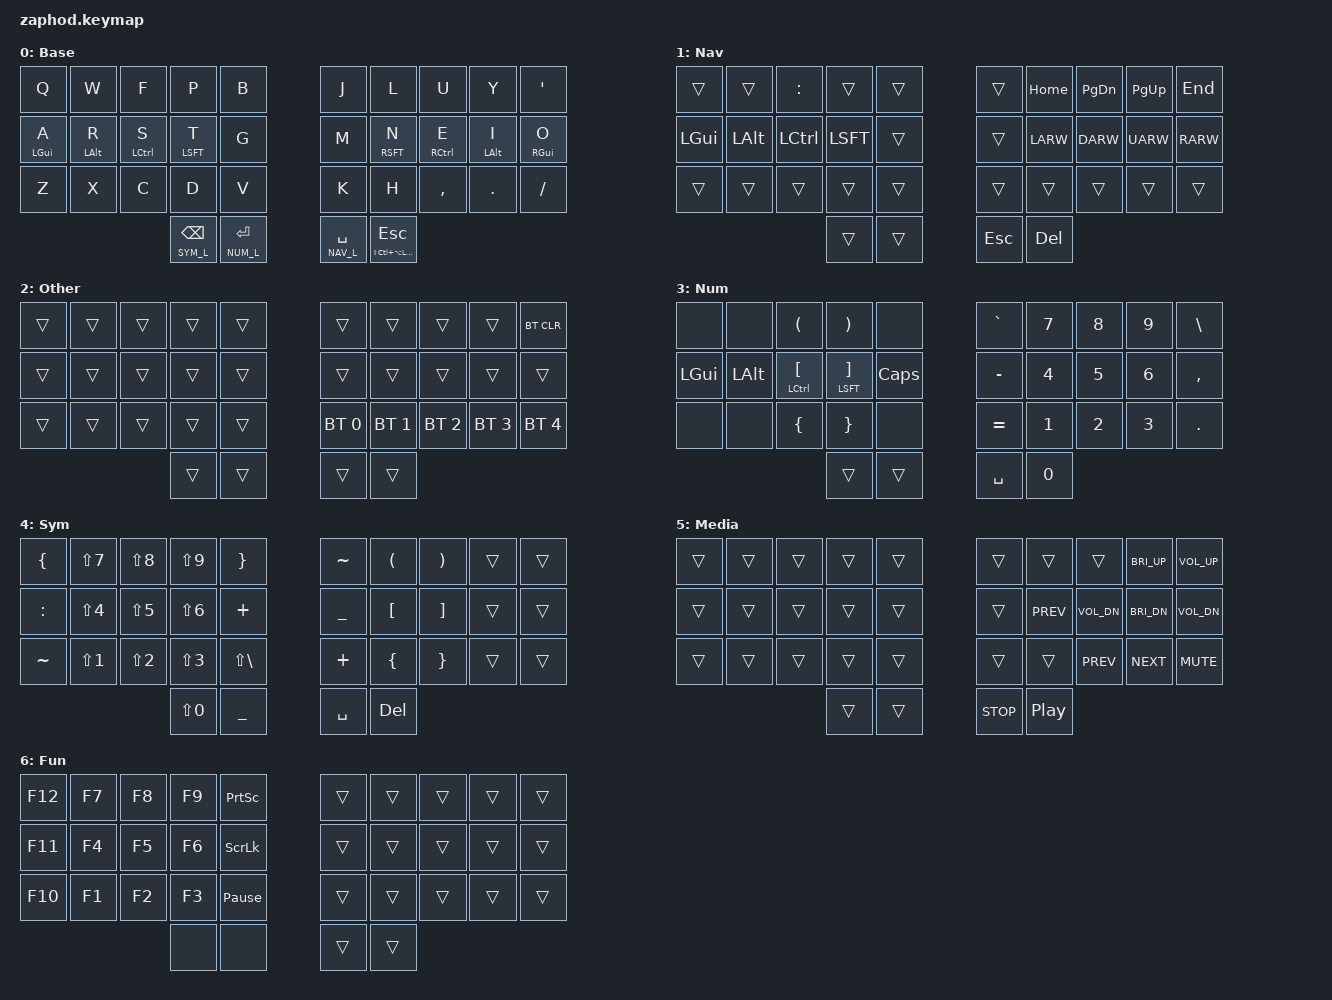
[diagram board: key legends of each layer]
/*
 * Copyright (c) 2021 Pete Johanson
 *
 * SPDX-License-Identifier: MIT
 */

#include <behaviors.dtsi>
#include <dt-bindings/zmk/keys.h>
#include <dt-bindings/zmk/bt.h>
#include <dt-bindings/zmk/outputs.h>

#define NAV_L 1
#define OTH_L 2
#define NUM_L 3
#define SYM_L 4
#define MED_L 5
#define FUN_L 6

// Using layer taps on thumbs, having quick tap as well helps w/ repeating space/backspace
&lt { quick_tap_ms = <200>; };

/ {
    combos {
        compatible = "zmk,combos";

        med_mo {
	    timeout-ms = <50>;
            key-positions = <30 31>;
            bindings = <&mo MED_L>;
        };

        fn_mo {
	    timeout-ms = <50>;
            key-positions = <32 33>;
            bindings = <&mo FUN_L>;
        };

        combo_semicolon {
            timeout-ms = <40>;
            key-positions = <6 7>;
            bindings = <&kp SEMI>;
        };
        combo_tab {
            timeout-ms = <40>;
            key-positions = <26 27>;
            bindings = <&kp TAB>;
        };
        combo_capslock {
            timeout-ms = <40>;
            key-positions = <5 15>;
            bindings = <&caps_word>;
        };

    };

    behaviors {
        hm: homerow_mods {
            compatible = "zmk,behavior-hold-tap";
            label = "homerow mods";
            #binding-cells = <2>;
            tapping_term_ms = <200>;
            flavor = "tap-preferred";
            bindings = <&kp>, <&kp>;
        };
    };

    keymap {
        compatible = "zmk,keymap";

        default_layer {
            label = "Base";
            bindings = <
                &kp Q      &kp W      &kp F       &kp P          &kp B         &kp J            &kp L          &kp U       &kp Y       &kp APOS
                &hm LGUI A &hm LALT R &hm LCTRL S &hm LSFT T     &kp G         &kp M            &hm RSFT N     &hm RCTRL E &hm LALT I  &hm RGUI O
                &kp Z      &kp X      &kp C       &kp D          &kp V         &kp K            &kp H          &kp COMMA   &kp DOT     &kp FSLH
                                                  &lt SYM_L BSPC &lt NUM_L RET &lt NAV_L SPACE  &mt LS(LC(LA(LGUI))) ESC
            >;
        };

        nav_layer {
            label = "Nav";
            bindings = <
                &trans     &trans     &kp COLON   &trans          &trans       &trans           &kp HOME       &kp PG_DN   &kp PG_UP  &kp END
                &kp LGUI   &kp LALT   &kp LCTRL   &kp LSFT        &trans       &trans           &kp LARW       &kp DARW    &kp UARW   &kp RARW
                &trans     &trans     &trans      &trans          &trans       &trans           &trans         &trans      &trans     &trans
                                                  &trans          &trans       &kp ESC          &kp DEL
            >;
        };

        other_layer {
            label = "Other";
            bindings = <
                &trans	   &trans     &trans      &trans          &trans       &trans           &trans         &trans       &trans       &bt BT_CLR
                &trans     &trans     &trans      &trans          &trans       &trans           &trans         &trans       &trans       &trans
                &trans     &trans     &trans      &trans          &trans       &bt BT_SEL 0     &bt BT_SEL 1   &bt BT_SEL 2 &bt BT_SEL 3 &bt BT_SEL 4
                                                  &trans          &trans       &trans           &trans
            >;
        };

        num_layer {
            label = "Num";
            bindings = <
                &none       &none     &kp LPAR      &kp RPAR      &none       &kp GRAVE   &kp N7  &kp N8  &kp N9  &kp BSLH
                &kp LGUI    &kp LALT  &hm LCTL LBKT &hm LSFT RBKT &kp CAPS    &kp MINUS   &kp N4  &kp N5  &kp N6  &kp CMMA
                &none       &none     &kp LBRC      &kp RBRC      &none       &kp EQUAL   &kp N1  &kp N2  &kp N3  &kp DOT
                                      &trans        &trans        &kp SPACE   &kp N0
            >;
        };

        sym_layer {
            label = "Sym";
            bindings = <
                &kp LBRC     &kp LS(N7)  &kp LS(N8)  &kp LS(N9) &kp RBRC        &kp TILDE &kp LPAR  &kp RPAR  &trans   &trans
                &kp COLON    &kp LS(N4)  &kp LS(N5)  &kp LS(N6) &kp PLUS        &kp UNDER &kp LBKT  &kp RBKT  &trans   &trans
                &kp TILDE    &kp LS(N1)  &kp LS(N2)  &kp LS(N3) &kp LS(BSLH)    &kp PLUS  &kp LBRC  &kp RBRC  &trans   &trans
                                                     &kp LS(N0) &kp UNDER       &kp SPACE &kp DEL
            >;
        };

        media_layer {
            label = "Media";
            bindings = <
                &trans     &trans     &trans      &trans          &trans       &trans           &trans         &trans       &kp C_BRI_UP &kp C_VOL_UP
                &trans     &trans     &trans      &trans          &trans       &trans           &kp C_PREV     &kp C_VOL_DN &kp C_BRI_DN &kp C_VOL_DN
                &trans     &trans     &trans      &trans          &trans       &trans           &trans         &kp C_PREV   &kp C_NEXT   &kp C_MUTE
                                                  &trans          &trans       &kp C_STOP       &kp C_PLAY_PAUSE
            >;
        };

        fun_layer {
            label = "Fun";
            bindings = <
                &kp F12     &kp F7     &kp F8      &kp F9     &kp PSCRN         &trans          &trans         &trans      &trans     &trans
                &kp F11     &kp F4     &kp F5      &kp F6     &kp SLCK          &trans          &trans         &trans      &trans     &trans
                &kp F10     &kp F1     &kp F2      &kp F3     &kp PAUSE_BREAK   &trans          &trans         &trans      &trans     &trans
                                                   &none      &none             &trans          &trans
            >;
        };
    };
};
